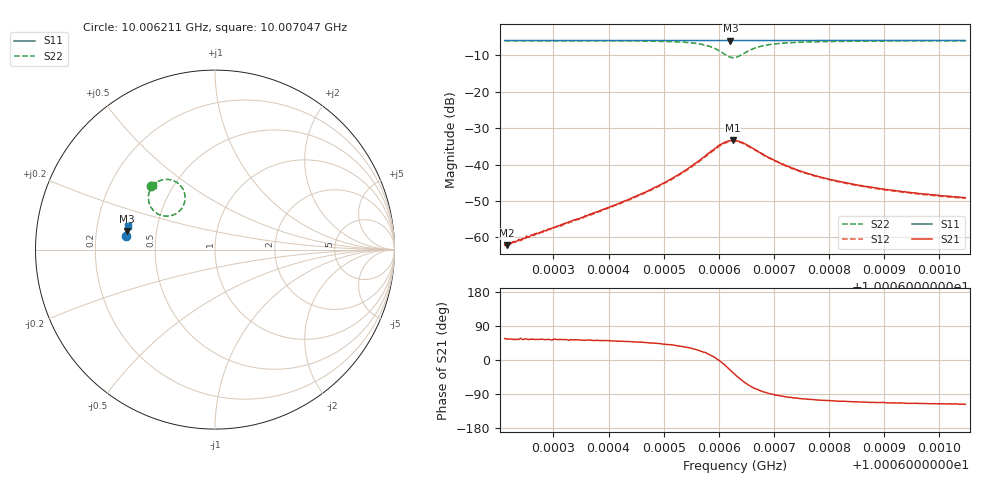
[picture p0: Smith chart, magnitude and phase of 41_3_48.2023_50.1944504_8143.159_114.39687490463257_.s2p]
#  HZ  S  RI  R  50.00
! Rohde & Schwarz Vector Network Analyzer
! Rohde-Schwarz,ZNB20-2Port,1311601062101988,3.16
! Created: UTC 3/20/2024, 11:37:53 AM
! freq[Hz]  re:S11  im:S11  re:S21  im:S21  re:S12  im:S12  re:S22  im:S22
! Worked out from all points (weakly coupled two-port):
!   401 points, 10.006211 GHz to 10.007047 GHz, reference 50 ohm
!   highest |S21| = -33.34 dB at 10.006625 GHz (marker M1); lowest = -62.1 dB at 10.006216 GHz (marker M2)
!   lowest |S11| = -6.0 dB at 10.006621 GHz (marker M3), VSWR 3.00, Z = 16.8 + j4.56 ohm
!   |S11| at or under -10 dB: nowhere
!   |S22| runs from -10.7 to -6.0 dB; largest |S21 - S12| = 0.0016
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1.00062114e10  -0.4962 0.076  0.000432 0.000662  0.000398 0.000648  -0.3538 0.3526
1.00062156e10  -0.4962 0.0762  0.000441 0.000647  0.000395 0.000667  -0.3536 0.3529
1.00063514e10  -0.4949 0.0852  0.00115 0.0015  0.00104 0.00153  -0.3392 0.3657
1.00064392e10  -0.494 0.091  0.00224 0.00254  0.00209 0.00256  -0.3224 0.3771
1.00064914e10  -0.4933 0.0944  0.00376 0.00354  0.00351 0.00363  -0.3035 0.3858
1.00065374e10  -0.4926 0.0976  0.00674 0.00463  0.0063 0.00483  -0.271 0.3914
1.0006577e10  -0.4914 0.1002  0.0129 0.0044  0.0122 0.00468  -0.2137 0.375
1.00065896e10  -0.4909 0.101  0.0157 0.00249  0.0151 0.00317  -0.1893 0.3531
1.00066021e10  -0.4906 0.1013  0.0187 -0.00102  0.018 -0.000102  -0.1699 0.3146
1.00066126e10  -0.4902 0.1017  0.0197 -0.00553  0.0193 -0.00427  -0.1683 0.2703
1.00066209e10  -0.49 0.1018  0.019 -0.00978  0.0191 -0.00817  -0.1827 0.2335
1.00066251e10  -0.4901 0.1018  0.0182 -0.0115  0.0182 -0.0101  -0.1954 0.2174
1.00066293e10  -0.4903 0.1018  0.0167 -0.0131  0.0171 -0.0119  -0.2107 0.2045
1.0006646e10  -0.4905 0.1024  0.0101 -0.0165  0.0109 -0.0157  -0.2803 0.187
1.00066606e10  -0.491 0.1032  0.00519 -0.016  0.00609 -0.0155  -0.3253 0.2032
1.00066773e10  -0.491 0.1044  0.00188 -0.0142  0.00254 -0.0138  -0.3528 0.23
1.00067233e10  -0.491 0.1078  -0.0012 -0.00955  -0.000786 -0.00941  -0.3711 0.2835
1.00067693e10  -0.4906 0.111  -0.00179 -0.00704  -0.00143 -0.00698  -0.3688 0.3105
1.00068382e10  -0.4897 0.1154  -0.00187 -0.00515  -0.00159 -0.00513  -0.3619 0.3318
1.00069092e10  -0.4888 0.12  -0.0018 -0.00412  -0.00154 -0.00415  -0.3552 0.3444
1.00069656e10  -0.488 0.1237  -0.00166 -0.00363  -0.00146 -0.00361  -0.3507 0.3515
1.00070471e10  -0.4868 0.1288  -0.0016 -0.00313  -0.00141 -0.00313  -0.3448 0.3598
